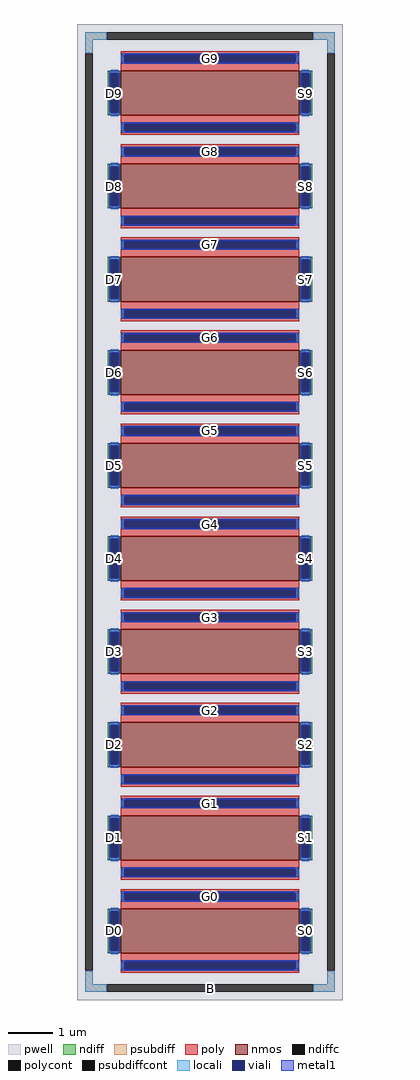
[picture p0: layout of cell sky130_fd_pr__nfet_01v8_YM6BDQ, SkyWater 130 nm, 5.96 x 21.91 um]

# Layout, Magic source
magic
tech sky130A
magscale 1 2
<< pwell >>
rect -596 -2191 596 2191
<< nmos >>
rect -400 1781 400 1981
rect -400 1363 400 1563
rect -400 945 400 1145
rect -400 527 400 727
rect -400 109 400 309
rect -400 -309 400 -109
rect -400 -727 400 -527
rect -400 -1145 400 -945
rect -400 -1563 400 -1363
rect -400 -1981 400 -1781
<< ndiff >>
rect -458 1969 -400 1981
rect -458 1793 -446 1969
rect -412 1793 -400 1969
rect -458 1781 -400 1793
rect 400 1969 458 1981
rect 400 1793 412 1969
rect 446 1793 458 1969
rect 400 1781 458 1793
rect -458 1551 -400 1563
rect -458 1375 -446 1551
rect -412 1375 -400 1551
rect -458 1363 -400 1375
rect 400 1551 458 1563
rect 400 1375 412 1551
rect 446 1375 458 1551
rect 400 1363 458 1375
rect -458 1133 -400 1145
rect -458 957 -446 1133
rect -412 957 -400 1133
rect -458 945 -400 957
rect 400 1133 458 1145
rect 400 957 412 1133
rect 446 957 458 1133
rect 400 945 458 957
rect -458 715 -400 727
rect -458 539 -446 715
rect -412 539 -400 715
rect -458 527 -400 539
rect 400 715 458 727
rect 400 539 412 715
rect 446 539 458 715
rect 400 527 458 539
rect -458 297 -400 309
rect -458 121 -446 297
rect -412 121 -400 297
rect -458 109 -400 121
rect 400 297 458 309
rect 400 121 412 297
rect 446 121 458 297
rect 400 109 458 121
rect -458 -121 -400 -109
rect -458 -297 -446 -121
rect -412 -297 -400 -121
rect -458 -309 -400 -297
rect 400 -121 458 -109
rect 400 -297 412 -121
rect 446 -297 458 -121
rect 400 -309 458 -297
rect -458 -539 -400 -527
rect -458 -715 -446 -539
rect -412 -715 -400 -539
rect -458 -727 -400 -715
rect 400 -539 458 -527
rect 400 -715 412 -539
rect 446 -715 458 -539
rect 400 -727 458 -715
rect -458 -957 -400 -945
rect -458 -1133 -446 -957
rect -412 -1133 -400 -957
rect -458 -1145 -400 -1133
rect 400 -957 458 -945
rect 400 -1133 412 -957
rect 446 -1133 458 -957
rect 400 -1145 458 -1133
rect -458 -1375 -400 -1363
rect -458 -1551 -446 -1375
rect -412 -1551 -400 -1375
rect -458 -1563 -400 -1551
rect 400 -1375 458 -1363
rect 400 -1551 412 -1375
rect 446 -1551 458 -1375
rect 400 -1563 458 -1551
rect -458 -1793 -400 -1781
rect -458 -1969 -446 -1793
rect -412 -1969 -400 -1793
rect -458 -1981 -400 -1969
rect 400 -1793 458 -1781
rect 400 -1969 412 -1793
rect 446 -1969 458 -1793
rect 400 -1981 458 -1969
<< ndiffc >>
rect -446 1793 -412 1969
rect 412 1793 446 1969
rect -446 1375 -412 1551
rect 412 1375 446 1551
rect -446 957 -412 1133
rect 412 957 446 1133
rect -446 539 -412 715
rect 412 539 446 715
rect -446 121 -412 297
rect 412 121 446 297
rect -446 -297 -412 -121
rect 412 -297 446 -121
rect -446 -715 -412 -539
rect 412 -715 446 -539
rect -446 -1133 -412 -957
rect 412 -1133 446 -957
rect -446 -1551 -412 -1375
rect 412 -1551 446 -1375
rect -446 -1969 -412 -1793
rect 412 -1969 446 -1793
<< psubdiff >>
rect -560 2121 -464 2155
rect 464 2121 560 2155
rect -560 2059 -526 2121
rect 526 2059 560 2121
rect -560 -2121 -526 -2059
rect 526 -2121 560 -2059
rect -560 -2155 -464 -2121
rect 464 -2155 560 -2121
<< psubdiffcont >>
rect -464 2121 464 2155
rect -560 -2059 -526 2059
rect 526 -2059 560 2059
rect -464 -2155 464 -2121
<< poly >>
rect -400 2053 400 2069
rect -400 2019 -384 2053
rect 384 2019 400 2053
rect -400 1981 400 2019
rect -400 1743 400 1781
rect -400 1709 -384 1743
rect 384 1709 400 1743
rect -400 1693 400 1709
rect -400 1635 400 1651
rect -400 1601 -384 1635
rect 384 1601 400 1635
rect -400 1563 400 1601
rect -400 1325 400 1363
rect -400 1291 -384 1325
rect 384 1291 400 1325
rect -400 1275 400 1291
rect -400 1217 400 1233
rect -400 1183 -384 1217
rect 384 1183 400 1217
rect -400 1145 400 1183
rect -400 907 400 945
rect -400 873 -384 907
rect 384 873 400 907
rect -400 857 400 873
rect -400 799 400 815
rect -400 765 -384 799
rect 384 765 400 799
rect -400 727 400 765
rect -400 489 400 527
rect -400 455 -384 489
rect 384 455 400 489
rect -400 439 400 455
rect -400 381 400 397
rect -400 347 -384 381
rect 384 347 400 381
rect -400 309 400 347
rect -400 71 400 109
rect -400 37 -384 71
rect 384 37 400 71
rect -400 21 400 37
rect -400 -37 400 -21
rect -400 -71 -384 -37
rect 384 -71 400 -37
rect -400 -109 400 -71
rect -400 -347 400 -309
rect -400 -381 -384 -347
rect 384 -381 400 -347
rect -400 -397 400 -381
rect -400 -455 400 -439
rect -400 -489 -384 -455
rect 384 -489 400 -455
rect -400 -527 400 -489
rect -400 -765 400 -727
rect -400 -799 -384 -765
rect 384 -799 400 -765
rect -400 -815 400 -799
rect -400 -873 400 -857
rect -400 -907 -384 -873
rect 384 -907 400 -873
rect -400 -945 400 -907
rect -400 -1183 400 -1145
rect -400 -1217 -384 -1183
rect 384 -1217 400 -1183
rect -400 -1233 400 -1217
rect -400 -1291 400 -1275
rect -400 -1325 -384 -1291
rect 384 -1325 400 -1291
rect -400 -1363 400 -1325
rect -400 -1601 400 -1563
rect -400 -1635 -384 -1601
rect 384 -1635 400 -1601
rect -400 -1651 400 -1635
rect -400 -1709 400 -1693
rect -400 -1743 -384 -1709
rect 384 -1743 400 -1709
rect -400 -1781 400 -1743
rect -400 -2019 400 -1981
rect -400 -2053 -384 -2019
rect 384 -2053 400 -2019
rect -400 -2069 400 -2053
<< polycont >>
rect -384 2019 384 2053
rect -384 1709 384 1743
rect -384 1601 384 1635
rect -384 1291 384 1325
rect -384 1183 384 1217
rect -384 873 384 907
rect -384 765 384 799
rect -384 455 384 489
rect -384 347 384 381
rect -384 37 384 71
rect -384 -71 384 -37
rect -384 -381 384 -347
rect -384 -489 384 -455
rect -384 -799 384 -765
rect -384 -907 384 -873
rect -384 -1217 384 -1183
rect -384 -1325 384 -1291
rect -384 -1635 384 -1601
rect -384 -1743 384 -1709
rect -384 -2053 384 -2019
<< locali >>
rect -560 2121 -464 2155
rect 464 2121 560 2155
rect -560 2059 -526 2121
rect 526 2059 560 2121
rect -400 2019 -384 2053
rect 384 2019 400 2053
rect -446 1969 -412 1985
rect -446 1777 -412 1793
rect 412 1969 446 1985
rect 412 1777 446 1793
rect -400 1709 -384 1743
rect 384 1709 400 1743
rect -400 1601 -384 1635
rect 384 1601 400 1635
rect -446 1551 -412 1567
rect -446 1359 -412 1375
rect 412 1551 446 1567
rect 412 1359 446 1375
rect -400 1291 -384 1325
rect 384 1291 400 1325
rect -400 1183 -384 1217
rect 384 1183 400 1217
rect -446 1133 -412 1149
rect -446 941 -412 957
rect 412 1133 446 1149
rect 412 941 446 957
rect -400 873 -384 907
rect 384 873 400 907
rect -400 765 -384 799
rect 384 765 400 799
rect -446 715 -412 731
rect -446 523 -412 539
rect 412 715 446 731
rect 412 523 446 539
rect -400 455 -384 489
rect 384 455 400 489
rect -400 347 -384 381
rect 384 347 400 381
rect -446 297 -412 313
rect -446 105 -412 121
rect 412 297 446 313
rect 412 105 446 121
rect -400 37 -384 71
rect 384 37 400 71
rect -400 -71 -384 -37
rect 384 -71 400 -37
rect -446 -121 -412 -105
rect -446 -313 -412 -297
rect 412 -121 446 -105
rect 412 -313 446 -297
rect -400 -381 -384 -347
rect 384 -381 400 -347
rect -400 -489 -384 -455
rect 384 -489 400 -455
rect -446 -539 -412 -523
rect -446 -731 -412 -715
rect 412 -539 446 -523
rect 412 -731 446 -715
rect -400 -799 -384 -765
rect 384 -799 400 -765
rect -400 -907 -384 -873
rect 384 -907 400 -873
rect -446 -957 -412 -941
rect -446 -1149 -412 -1133
rect 412 -957 446 -941
rect 412 -1149 446 -1133
rect -400 -1217 -384 -1183
rect 384 -1217 400 -1183
rect -400 -1325 -384 -1291
rect 384 -1325 400 -1291
rect -446 -1375 -412 -1359
rect -446 -1567 -412 -1551
rect 412 -1375 446 -1359
rect 412 -1567 446 -1551
rect -400 -1635 -384 -1601
rect 384 -1635 400 -1601
rect -400 -1743 -384 -1709
rect 384 -1743 400 -1709
rect -446 -1793 -412 -1777
rect -446 -1985 -412 -1969
rect 412 -1793 446 -1777
rect 412 -1985 446 -1969
rect -400 -2053 -384 -2019
rect 384 -2053 400 -2019
rect -560 -2121 -526 -2059
rect 526 -2121 560 -2059
rect -560 -2155 -464 -2121
rect 464 -2155 560 -2121
<< viali >>
rect -384 2019 384 2053
rect -446 1793 -412 1969
rect 412 1793 446 1969
rect -384 1709 384 1743
rect -384 1601 384 1635
rect -446 1375 -412 1551
rect 412 1375 446 1551
rect -384 1291 384 1325
rect -384 1183 384 1217
rect -446 957 -412 1133
rect 412 957 446 1133
rect -384 873 384 907
rect -384 765 384 799
rect -446 539 -412 715
rect 412 539 446 715
rect -384 455 384 489
rect -384 347 384 381
rect -446 121 -412 297
rect 412 121 446 297
rect -384 37 384 71
rect -384 -71 384 -37
rect -446 -297 -412 -121
rect 412 -297 446 -121
rect -384 -381 384 -347
rect -384 -489 384 -455
rect -446 -715 -412 -539
rect 412 -715 446 -539
rect -384 -799 384 -765
rect -384 -907 384 -873
rect -446 -1133 -412 -957
rect 412 -1133 446 -957
rect -384 -1217 384 -1183
rect -384 -1325 384 -1291
rect -446 -1551 -412 -1375
rect 412 -1551 446 -1375
rect -384 -1635 384 -1601
rect -384 -1743 384 -1709
rect -446 -1969 -412 -1793
rect 412 -1969 446 -1793
rect -384 -2053 384 -2019
<< metal1 >>
rect -396 2053 396 2059
rect -396 2019 -384 2053
rect 384 2019 396 2053
rect -396 2013 396 2019
rect -452 1969 -406 1981
rect -452 1793 -446 1969
rect -412 1793 -406 1969
rect -452 1781 -406 1793
rect 406 1969 452 1981
rect 406 1793 412 1969
rect 446 1793 452 1969
rect 406 1781 452 1793
rect -396 1743 396 1749
rect -396 1709 -384 1743
rect 384 1709 396 1743
rect -396 1703 396 1709
rect -396 1635 396 1641
rect -396 1601 -384 1635
rect 384 1601 396 1635
rect -396 1595 396 1601
rect -452 1551 -406 1563
rect -452 1375 -446 1551
rect -412 1375 -406 1551
rect -452 1363 -406 1375
rect 406 1551 452 1563
rect 406 1375 412 1551
rect 446 1375 452 1551
rect 406 1363 452 1375
rect -396 1325 396 1331
rect -396 1291 -384 1325
rect 384 1291 396 1325
rect -396 1285 396 1291
rect -396 1217 396 1223
rect -396 1183 -384 1217
rect 384 1183 396 1217
rect -396 1177 396 1183
rect -452 1133 -406 1145
rect -452 957 -446 1133
rect -412 957 -406 1133
rect -452 945 -406 957
rect 406 1133 452 1145
rect 406 957 412 1133
rect 446 957 452 1133
rect 406 945 452 957
rect -396 907 396 913
rect -396 873 -384 907
rect 384 873 396 907
rect -396 867 396 873
rect -396 799 396 805
rect -396 765 -384 799
rect 384 765 396 799
rect -396 759 396 765
rect -452 715 -406 727
rect -452 539 -446 715
rect -412 539 -406 715
rect -452 527 -406 539
rect 406 715 452 727
rect 406 539 412 715
rect 446 539 452 715
rect 406 527 452 539
rect -396 489 396 495
rect -396 455 -384 489
rect 384 455 396 489
rect -396 449 396 455
rect -396 381 396 387
rect -396 347 -384 381
rect 384 347 396 381
rect -396 341 396 347
rect -452 297 -406 309
rect -452 121 -446 297
rect -412 121 -406 297
rect -452 109 -406 121
rect 406 297 452 309
rect 406 121 412 297
rect 446 121 452 297
rect 406 109 452 121
rect -396 71 396 77
rect -396 37 -384 71
rect 384 37 396 71
rect -396 31 396 37
rect -396 -37 396 -31
rect -396 -71 -384 -37
rect 384 -71 396 -37
rect -396 -77 396 -71
rect -452 -121 -406 -109
rect -452 -297 -446 -121
rect -412 -297 -406 -121
rect -452 -309 -406 -297
rect 406 -121 452 -109
rect 406 -297 412 -121
rect 446 -297 452 -121
rect 406 -309 452 -297
rect -396 -347 396 -341
rect -396 -381 -384 -347
rect 384 -381 396 -347
rect -396 -387 396 -381
rect -396 -455 396 -449
rect -396 -489 -384 -455
rect 384 -489 396 -455
rect -396 -495 396 -489
rect -452 -539 -406 -527
rect -452 -715 -446 -539
rect -412 -715 -406 -539
rect -452 -727 -406 -715
rect 406 -539 452 -527
rect 406 -715 412 -539
rect 446 -715 452 -539
rect 406 -727 452 -715
rect -396 -765 396 -759
rect -396 -799 -384 -765
rect 384 -799 396 -765
rect -396 -805 396 -799
rect -396 -873 396 -867
rect -396 -907 -384 -873
rect 384 -907 396 -873
rect -396 -913 396 -907
rect -452 -957 -406 -945
rect -452 -1133 -446 -957
rect -412 -1133 -406 -957
rect -452 -1145 -406 -1133
rect 406 -957 452 -945
rect 406 -1133 412 -957
rect 446 -1133 452 -957
rect 406 -1145 452 -1133
rect -396 -1183 396 -1177
rect -396 -1217 -384 -1183
rect 384 -1217 396 -1183
rect -396 -1223 396 -1217
rect -396 -1291 396 -1285
rect -396 -1325 -384 -1291
rect 384 -1325 396 -1291
rect -396 -1331 396 -1325
rect -452 -1375 -406 -1363
rect -452 -1551 -446 -1375
rect -412 -1551 -406 -1375
rect -452 -1563 -406 -1551
rect 406 -1375 452 -1363
rect 406 -1551 412 -1375
rect 446 -1551 452 -1375
rect 406 -1563 452 -1551
rect -396 -1601 396 -1595
rect -396 -1635 -384 -1601
rect 384 -1635 396 -1601
rect -396 -1641 396 -1635
rect -396 -1709 396 -1703
rect -396 -1743 -384 -1709
rect 384 -1743 396 -1709
rect -396 -1749 396 -1743
rect -452 -1793 -406 -1781
rect -452 -1969 -446 -1793
rect -412 -1969 -406 -1793
rect -452 -1981 -406 -1969
rect 406 -1793 452 -1781
rect 406 -1969 412 -1793
rect 446 -1969 452 -1793
rect 406 -1981 452 -1969
rect -396 -2019 396 -2013
rect -396 -2053 -384 -2019
rect 384 -2053 396 -2019
rect -396 -2059 396 -2053
<< labels >>
rlabel psubdiffcont 0 -2138 0 -2138 0 B
port 1 nsew
rlabel ndiffc -429 -1881 -429 -1881 0 D0
port 2 nsew
rlabel ndiffc 429 -1881 429 -1881 0 S0
port 3 nsew
rlabel polycont 0 -1726 0 -1726 0 G0
port 4 nsew
rlabel ndiffc -429 -1463 -429 -1463 0 D1
port 5 nsew
rlabel ndiffc 429 -1463 429 -1463 0 S1
port 6 nsew
rlabel polycont 0 -1308 0 -1308 0 G1
port 7 nsew
rlabel ndiffc -429 -1045 -429 -1045 0 D2
port 8 nsew
rlabel ndiffc 429 -1045 429 -1045 0 S2
port 9 nsew
rlabel polycont 0 -890 0 -890 0 G2
port 10 nsew
rlabel ndiffc -429 -627 -429 -627 0 D3
port 11 nsew
rlabel ndiffc 429 -627 429 -627 0 S3
port 12 nsew
rlabel polycont 0 -472 0 -472 0 G3
port 13 nsew
rlabel ndiffc -429 -209 -429 -209 0 D4
port 14 nsew
rlabel ndiffc 429 -209 429 -209 0 S4
port 15 nsew
rlabel polycont 0 -54 0 -54 0 G4
port 16 nsew
rlabel ndiffc -429 209 -429 209 0 D5
port 17 nsew
rlabel ndiffc 429 209 429 209 0 S5
port 18 nsew
rlabel polycont 0 364 0 364 0 G5
port 19 nsew
rlabel ndiffc -429 627 -429 627 0 D6
port 20 nsew
rlabel ndiffc 429 627 429 627 0 S6
port 21 nsew
rlabel polycont 0 782 0 782 0 G6
port 22 nsew
rlabel ndiffc -429 1045 -429 1045 0 D7
port 23 nsew
rlabel ndiffc 429 1045 429 1045 0 S7
port 24 nsew
rlabel polycont 0 1200 0 1200 0 G7
port 25 nsew
rlabel ndiffc -429 1463 -429 1463 0 D8
port 26 nsew
rlabel ndiffc 429 1463 429 1463 0 S8
port 27 nsew
rlabel polycont 0 1618 0 1618 0 G8
port 28 nsew
rlabel ndiffc -429 1881 -429 1881 0 D9
port 29 nsew
rlabel ndiffc 429 1881 429 1881 0 S9
port 30 nsew
rlabel polycont 0 2036 0 2036 0 G9
port 31 nsew
<< properties >>
string FIXED_BBOX -543 -2138 543 2138
string gencell sky130_fd_pr__nfet_01v8
string library sky130
string parameters w 1.0 l 4.0 m 10 nf 1 diffcov 100 polycov 100 guard 1 glc 1 grc 1 gtc 1 gbc 1 tbcov 100 rlcov 100 topc 1 botc 1 poverlap 0 doverlap 1 lmin 0.15 wmin 0.42 class mosfet compatible {sky130_fd_pr__nfet_01v8 sky130_fd_pr__nfet_01v8_lvt  sky130_fd_bs_flash__special_sonosfet_star  sky130_fd_pr__nfet_g5v0d10v5 sky130_fd_pr__nfet_05v0_nvt  sky130_fd_pr__nfet_03v3_nvt} full_metal 1 conn_gates 0 viasrc 100 viadrn 100 viagate 100 viagb 0 viagr 0 viagl 0 viagt 0 doports 1
<< end >>
